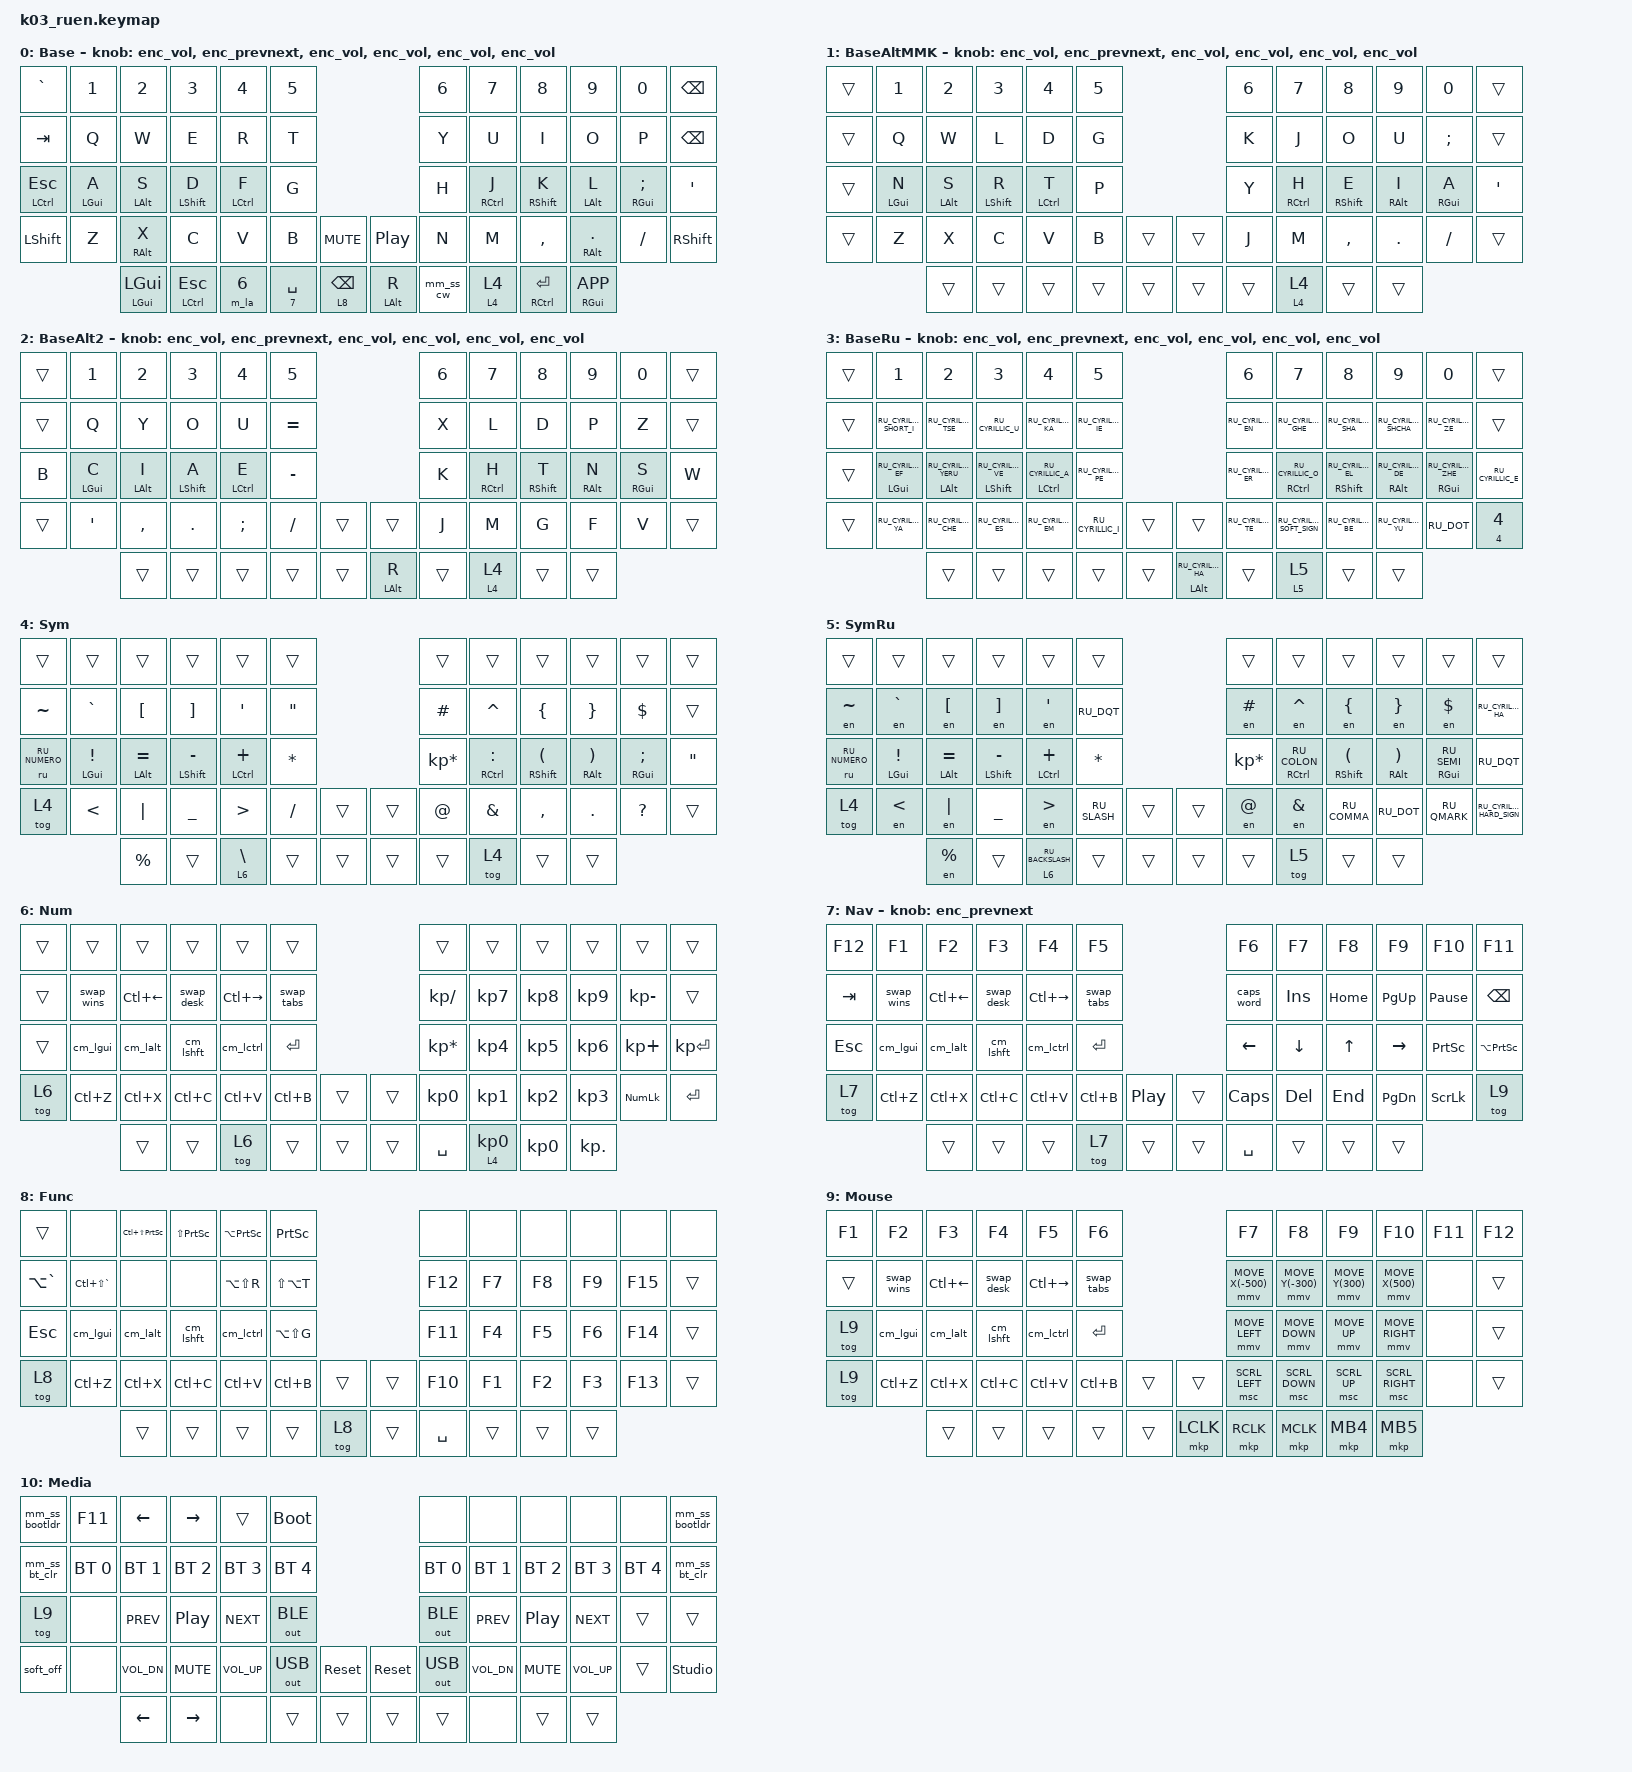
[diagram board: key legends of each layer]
#ifndef KEYMAP_DRAWER

#include "keys_ru.h"

#endif

#include <behaviors.dtsi>
#include <dt-bindings/zmk/bt.h>
#include <dt-bindings/zmk/keys.h>
#include <dt-bindings/zmk/outputs.h>
#include <dt-bindings/zmk/pointing.h>

// DEFINITIONS {{{
// #define KEYS_L 0 1 2 3 4 5 12 13 14 15 16 17 24 25 26 27 28 29 36 37 38 39 40 41 42 50 51 52 53 54
// #define KEYS_R 6 7 8 9 10 11 18 19 20 21 22 23 30 31 32 33 34 35 43 44 45 46 47 48 49 55 56 57 58 59
// #define MTSK(key)   &mtsk key     key
// #define LTSL(layer) &ltsk layer   layer
// #define HRM_LGUI(key) &mtl LGUI   key
// #define HRM_LALT(key) &mtl LALT   key
// #define HRM_LSFT(key) &mtl LSHIFT key
// #define HRM_LCTL(key) &mtl LCTRL  key
// #define HRM_RGUI(key) &mtr RGUI   key
// #define HRM_RALT(key) &mtr RALT   key
// #define HRM_RSFT(key) &mtr RSHIFT key
// #define HRM_RCTL(key) &mtr RCTRL  key
// }}} DEFINITIONS
// CONFIGS {{{

&sk { release-after-ms = <300000>; };

&caps_word { continue-list = <UNDERSCORE BACKSPACE DELETE MINUS KP_MINUS>; };

&soft_off { hold-time-ms = <3000>; };

// }}} CONFIGS

/ {
    // MACROS {{{

    macros {
        to_ru: to_ru {
            compatible = "zmk,behavior-macro";
            #binding-cells = <0>;
            bindings =
                <&macro_press>,
                <&kp LCTRL &kp LSHIFT &kp N2>,
                <&macro_release>,
                <&kp N2 &kp LSHIFT &kp LCTRL>;

            label = "TO_RU";
            wait-ms = <0>;
        };

        to_en: to_en {
            compatible = "zmk,behavior-macro";
            #binding-cells = <0>;
            bindings =
                <&macro_press>,
                <&kp LCTRL &kp LSHIFT &kp N1>,
                <&macro_release>,
                <&kp N1 &kp LSHIFT &kp LCTRL>;

            label = "TO_EN";
            wait-ms = <0>;
        };

        layer_en: layer_en {
            compatible = "zmk,behavior-macro-one-param";
            #binding-cells = <1>;
            bindings = <&macro_param_1to1 &to MACRO_PLACEHOLDER &to_en>;
            label = "LAYER_EN";
            wait-ms = <0>;
            tap-ms = <30>;
        };

        layer_ru: layer_ru {
            compatible = "zmk,behavior-macro";
            #binding-cells = <0>;
            bindings = <&to 3 &to_ru>;
            label = "LAYER_RU";
            wait-ms = <0>;
            tap-ms = <30>;
        };

        en: en {
            compatible = "zmk,behavior-macro-one-param";
            #binding-cells = <1>;
            bindings =
                <&to_en>,
                <&macro_press>,
                <&macro_param_1to1 &kp MACRO_PLACEHOLDER>,
                <&macro_pause_for_release>,
                <&macro_release>,
                <&macro_param_1to1 &kp MACRO_PLACEHOLDER>,
                <&macro_tap>,
                <&to_ru>;

            label = "EN";
            wait-ms = <0>;
            tap-ms = <30>;
        };

        mo_enru: mo_enru {
            label = "MO_ENRU";
            compatible = "zmk,behavior-macro-one-param";
            #binding-cells = <1>;
            bindings =
                <&macro_tap>,
                <&to_en>,
                <&macro_press>,
                <&macro_param_1to1 &mo MACRO_PLACEHOLDER>,
                <&macro_pause_for_release>,
                <&macro_release>,
                <&macro_param_1to1 &mo MACRO_PLACEHOLDER>,
                <&macro_tap>,
                <&to_ru>;

            wait-ms = <0>;
            tap-ms = <30>;
        };

        sl_enru: sl_enru {
            label = "SL_ENRU";
            compatible = "zmk,behavior-macro-one-param";
            #binding-cells = <1>;
            bindings =
                <&macro_tap>,
                <&to_en>,
                <&macro_press>,
                <&macro_param_1to1 &sl MACRO_PLACEHOLDER>,
                <&macro_pause_for_release>,
                <&macro_release>,
                <&macro_param_1to1 &sl MACRO_PLACEHOLDER>,
                <&macro_tap>,
                <&to_ru>;

            wait-ms = <0>;
            tap-ms = <30>;
        };

        ru: ru {
            compatible = "zmk,behavior-macro-one-param";
            #binding-cells = <1>;
            bindings =
                <&to_ru>,
                <&macro_press>,
                <&macro_param_1to1 &kp MACRO_PLACEHOLDER>,
                <&macro_pause_for_release>,
                <&macro_release>,
                <&macro_param_1to1 &kp MACRO_PLACEHOLDER>,
                <&macro_tap>,
                <&to_en>;

            label = "RU";
            wait-ms = <0>;
            tap-ms = <30>;
        };

        m_release_key_twice: m_release_key_twice {
            compatible = "zmk,behavior-macro-one-param";
            #binding-cells = <1>;
            wait-ms = <0>;
            tap-ms = <0>;
            bindings =
                <&macro_release>,
                <&macro_param_1to1 &kp MACRO_PLACEHOLDER &macro_param_1to1 &kp MACRO_PLACEHOLDER>;
        };

        m_press_key_twice: m_press_key_twice {
            compatible = "zmk,behavior-macro-one-param";
            #binding-cells = <1>;
            wait-ms = <0>;
            tap-ms = <0>;
            bindings =
                <&macro_press>,
                <&macro_param_1to1 &kp MACRO_PLACEHOLDER &macro_param_1to1 &kp MACRO_PLACEHOLDER>,
                <&macro_pause_for_release>,
                <&macro_tap>,
                <&macro_param_1to1 &m_release_key_twice MACRO_PLACEHOLDER>;
        };

        m_hold_mod_press_key: m_hold_mod_press_key {
            compatible = "zmk,behavior-macro-two-param";
            #binding-cells = <2>;
            wait-ms = <0>;
            tap-ms = <0>;
            bindings =
                <&macro_press>,
                <&macro_param_1to1 &kp MACRO_PLACEHOLDER>,
                <&macro_tap>,
                <&macro_param_2to1 &kp MACRO_PLACEHOLDER>;
        };

        m_la: m_layer_advanced {
            compatible = "zmk,behavior-macro-one-param";
            #binding-cells = <1>;
            wait-ms = <0>;
            tap-ms = <0>;
            bindings =
                <&macro_tap>,
                <&kp 0>,
                <&macro_press>,
                <&macro_param_1to1 &mo MACRO_PLACEHOLDER>,
                <&macro_pause_for_release>,
                <&macro_release>,
                <&macro_param_1to1 &mo MACRO_PLACEHOLDER &kp LSHFT &kp LCTRL &kp LALT &kp LGUI>;
        };

        m_la_enru: m_layer_advanced_enru {
            compatible = "zmk,behavior-macro-one-param";
            #binding-cells = <1>;
            wait-ms = <0>;
            tap-ms = <0>;
            bindings =
                <&macro_tap>,
                <&kp 0>,
                <&macro_press>,
                <&macro_param_1to1 &mo MACRO_PLACEHOLDER>,
                <&macro_pause_for_release>,
                <&macro_release>,
                <&macro_param_1to1 &mo MACRO_PLACEHOLDER &kp LSHFT &kp LCTRL &kp LALT &kp LGUI>;
        };
    };

    // }}} MACROS
    // BEHAVIOURS {{{

    behaviors {
        enc_vol: enc_vol {
            compatible = "zmk,behavior-sensor-rotate";
            label = "ENC_VOL";
            #sensor-binding-cells = <0>;
            bindings = <&kp C_VOL_UP>, <&kp C_VOL_DN>;
        };

        enc_prevnext: enc_prevnext {
            compatible = "zmk,behavior-sensor-rotate";
            label = "ENC_PREVNEXT";
            #sensor-binding-cells = <0>;
            bindings = <&kp C_NEXT>, <&kp C_PREV>;
        };

        sticky_forever: sticky_forever {
            compatible = "zmk,behavior-sticky-key";
            #binding-cells = <1>;
            bindings = <&m_press_key_twice>;
            release-after-ms = <60000>;
            quick-release;
            ignore-modifiers;
        };

        skq: sticky_key_quick_release {
            compatible = "zmk,behavior-sticky-key";
            #binding-cells = <1>;
            bindings = <&kp>;
            release-after-ms = <10000>;
            quick-release;
            ignore-modifiers;
        };

        ltsk: layer_tap_sticky_key {
            label = "layer_tap_sticky_key";
            compatible = "zmk,behavior-hold-tap";
            #binding-cells = <2>;
            tapping-term-ms = <300>;
            bindings = <&mo>, <&skq>;

            flavor = "tap-preferred";
        };

        ltsl: layer_tap_sticky_layer {
            compatible = "zmk,behavior-hold-tap";
            label = "layer_tap_sticky_layer";
            #binding-cells = <2>;
            tapping-term-ms = <300>;
            bindings = <&mo>, <&sl>;

            flavor = "balanced";
        };

        ltsl_enru: layer_tap_sticky_layer_enru {
            compatible = "zmk,behavior-hold-tap";
            label = "layer_tap_sticky_layer_enru";
            #binding-cells = <2>;
            tapping-term-ms = <300>;
            bindings = <&mo_enru>, <&sl_enru>;

            flavor = "balanced";
        };

        mtsk: mod_tap_sticky_key {
            label = "mod_tap_sticky_key";
            compatible = "zmk,behavior-hold-tap";
            #binding-cells = <2>;
            tapping-term-ms = <300>;
            bindings = <&kp>, <&skq>;

            hold-while-undecided-linger;
            flavor = "tap-preferred";
        };

        mtc: mod_tap_custom {
            compatible = "zmk,behavior-hold-tap";
            label = "mod_tap_custom";
            #binding-cells = <2>;
            tapping-term-ms = <300>;
            flavor = "balanced";
            bindings = <&kp>, <&kp>;

            quick-tap-ms = <250>;
        };

        ltc: layer_tap_custom {
            compatible = "zmk,behavior-hold-tap";
            #binding-cells = <2>;
            tapping-term-ms = <300>;
            flavor = "balanced";
            bindings = <&mo>, <&kp>;

            quick-tap-ms = <250>;
            label = "layer_tap_custom";
        };

        mtl: mod_tap_left {
            compatible = "zmk,behavior-hold-tap";
            #binding-cells = <2>;
            flavor = "balanced";
            require-prior-idle-ms = <150>;
            tapping-term-ms = <300>;
            quick-tap-ms = <250>;
            bindings = <&kp>, <&kp>;

            hold-trigger-key-positions = <6 7 8 9 10 11 18 19 20 21 22 23 30 31 32 33 34 35 43 44 45 46 47 48 49 55 56 57 58 59>;
            hold-trigger-on-release;
        };

        mtr: mod_tap_right {
            compatible = "zmk,behavior-hold-tap";
            #binding-cells = <2>;
            flavor = "balanced";
            require-prior-idle-ms = <150>;
            tapping-term-ms = <300>;
            quick-tap-ms = <250>;
            bindings = <&kp>, <&kp>;

            hold-trigger-key-positions = <0 1 2 3 4 5 12 13 14 15 16 17 24 25 26 27 28 29 36 37 38 39 40 41 42 50 51 52 53 54>;
            hold-trigger-on-release;
        };

        cm_lgui: cm_lgui {
            compatible = "zmk,behavior-mod-morph";
            #binding-cells = <0>;
            bindings = <&sticky_forever LGUI>, <&m_release_key_twice LGUI>;

            mods = <(MOD_LGUI)>;
            keep-mods = <(MOD_LGUI)>;
        };

        cm_lalt: cm_lalt {
            compatible = "zmk,behavior-mod-morph";
            #binding-cells = <0>;
            bindings = <&sticky_forever LALT>, <&m_release_key_twice LALT>;

            mods = <(MOD_LALT)>;
            keep-mods = <(MOD_LALT)>;
        };

        cm_lctrl: cm_lctrl {
            compatible = "zmk,behavior-mod-morph";
            #binding-cells = <0>;
            bindings = <&sticky_forever LCTRL>, <&m_release_key_twice LCTRL>;

            mods = <(MOD_LCTL)>;
            keep-mods = <(MOD_LCTL)>;
        };

        cm_lshft: cm_lshft {
            compatible = "zmk,behavior-mod-morph";
            #binding-cells = <0>;
            bindings = <&sticky_forever LSHFT>, <&m_release_key_twice LSHFT>;

            mods = <(MOD_LSFT)>;
            keep-mods = <(MOD_LSFT)>;
        };

        swap_desk: swap_desk {
            compatible = "zmk,behavior-mod-morph";
            #binding-cells = <0>;
            bindings = <&m_hold_mod_press_key LGUI TAB>, <&kp TAB>;

            mods = <(MOD_LGUI)>;
            keep-mods = <(MOD_LGUI)>;
        };

        swap_wins: swap_wins {
            compatible = "zmk,behavior-mod-morph";
            #binding-cells = <0>;
            bindings = <&m_hold_mod_press_key LALT TAB>, <&kp TAB>;

            mods = <(MOD_LALT)>;
            keep-mods = <(MOD_LALT)>;
        };

        swap_tabs: swap_tabs {
            compatible = "zmk,behavior-mod-morph";
            #binding-cells = <0>;
            bindings = <&m_hold_mod_press_key LCTRL TAB>, <&kp TAB>;

            mods = <(MOD_LCTL)>;
            keep-mods = <(MOD_LCTL)>;
        };

        td_lt_lt_kp: td_lt_lt_kp {
            compatible = "zmk,behavior-tap-dance";
            label = "TD_LT_LT_KP";
            #binding-cells = <0>;
            bindings = <&ltc 8 ENTER>, <&ltc 9 ENTER>;

            tapping-term-ms = <75>;
        };

        mm_ss_cw: mm_ss_cw {
            compatible = "zmk,behavior-mod-morph";
            label = "MODEMORPH_SHIFT_CAPSWORD";
            bindings = <&mtsk RSHFT RSHFT>, <&caps_word>;

            #binding-cells = <0>;
            mods = <(MOD_RSFT|MOD_LSFT)>;
        };

        mm_ss_bootldr: mm_ss_bootldr {
            compatible = "zmk,behavior-mod-morph";
            label = "MM_SS_BOOTLDR";
            bindings = <&skq RSHFT>, <&bootloader>;

            #binding-cells = <0>;
            mods = <(MOD_RSFT|MOD_LSFT)>;
        };

        mm_ss_bt_clr_all: mm_ss_bt_clr_all {
            compatible = "zmk,behavior-mod-morph";
            label = "MM_SS_BT_CLR_ALL";
            bindings = <&skq RSHFT>, <&bt BT_CLR_ALL>;

            #binding-cells = <0>;
            mods = <(MOD_RSFT|MOD_LSFT)>;
        };

        mm_ss_bt_clr: mm_ss_bt_clr {
            compatible = "zmk,behavior-mod-morph";
            label = "MM_SS_BT_CLR";
            bindings = <&skq RSHFT>, <&bt BT_CLR>;

            #binding-cells = <0>;
            mods = <(MOD_RSFT|MOD_LSFT)>;
        };

        ltla: ltla {
            compatible = "zmk,behavior-hold-tap";
            label = "LTLA";
            #binding-cells = <2>;
            tapping-term-ms = <280>;
            bindings = <&m_la>, <&kp>;

            flavor = "hold-preferred";
            quick-tap-ms = <200>;
        };
    };

    // }}} BEHAVIORS
    // COMBOS {{{

    combos {
        compatible = "zmk,combos";

        cmben {
            bindings = <&layer_en 0>;
            key-positions = <38 39>;
            layers = <0 1 2 3>;
            timeout-ms = <50>;
            require-prior-idle-ms = <30>;
        };

        cmben_alt1 {
            bindings = <&layer_en 1>;
            key-positions = <38 39 40>;
            timeout-ms = <60>;
            require-prior-idle-ms = <30>;
            layers = <0 1 2 3>;
        };

        cmben_alt2 {
            bindings = <&layer_en 2>;
            key-positions = <38 40>;
            timeout-ms = <60>;
            require-prior-idle-ms = <30>;
            layers = <0 1 2 3>;
        };

        cmbru {
            bindings = <&layer_ru>;
            key-positions = <39 40>;
            layers = <0 1 2 3>;
            timeout-ms = <50>;
            require-prior-idle-ms = <30>;
        };

        ru_cyr_yo {
            bindings = <&kp GRAVE>;
            key-positions = <17 29>;
            layers = <3>;
            timeout-ms = <70>;
            require-prior-idle-ms = <30>;
        };

        ru_cyr_hsgn {
            bindings = <&kp RU_CYRILLIC_HARD_SIGN>;
            key-positions = <47 46>;
            layers = <3>;
            timeout-ms = <70>;
            require-prior-idle-ms = <30>;
        };

        ru_cyr_ha {
            bindings = <&kp RU_CYRILLIC_HA>;
            key-positions = <21 20>;
            layers = <3>;
            timeout-ms = <70>;
            require-prior-idle-ms = <30>;
        };

        equal {
            bindings = <&kp EQUAL>;
            key-positions = <18 19>;
            layers = <0 1 3>;
        };

        hyphen {
            bindings = <&kp MINUS>;
            key-positions = <31 30>;
            layers = <0 1 2 3>;
            timeout-ms = <50>;
            require-prior-idle-ms = <30>;
        };

        under {
            bindings = <&kp UNDER>;
            key-positions = <44 45>;
            layers = <0 1 2 3>;
            require-prior-idle-ms = <30>;
            timeout-ms = <50>;
        };

        pipe {
            bindings = <&kp PIPE>;
            key-positions = <16 17>;
            timeout-ms = <50>;
            require-prior-idle-ms = <30>;
            layers = <0 1 2 3>;
        };

        slash {
            bindings = <&kp SLASH>;
            key-positions = <29 28>;
            timeout-ms = <50>;
            require-prior-idle-ms = <30>;
            layers = <0 1 2 3>;
        };

        backslash {
            bindings = <&kp BACKSLASH>;
            key-positions = <40 41>;
            timeout-ms = <50>;
            require-prior-idle-ms = <30>;
            layers = <0 1 2 3>;
        };

        clear_all_bt {
            bindings = <&bt BT_CLR_ALL>;
            key-positions = <12 24>;
            layers = <10>;
            timeout-ms = <60>;
            require-prior-idle-ms = <30>;
        };

        turbo {
            bindings = <&kp LC(LSHFT)>;
            key-positions = <53 54>;
            timeout-ms = <60>;
            require-prior-idle-ms = <30>;
        };
    };

    // }}} COMBOS
    // CONDITIONAL LAYERA {{{

    conditional_layers {
        compatible = "zmk,conditional-layers";

        Media {
            if-layers = <6 4>;
            then-layer = <10>;
        };

        MediaRu {
            if-layers = <6 5>;
            then-layer = <10>;
        };

        MediaNavNum {
            if-layers = <6 7>;
            then-layer = <10>;
        };
    };

    // }}} CONDITIONAL LAYERS
    // KEYMAP {{{

    keymap {
        compatible = "zmk,keymap";

        Base {
            display-name = "Base";
            bindings = <
&kp GRAVE       &kp N1       &kp N2            &kp N3          &kp N4        &kp N5                                               &kp N6     &kp N7        &kp N8            &kp N9           &kp N0          &kp BSPC
&kp TAB         &kp Q        &kp W             &kp E           &kp R         &kp T                                                &kp Y      &kp U         &kp I             &kp O            &kp P           &kp BACKSPACE
&mtc LCTRL ESC  &mtl LGUI A  &mtl LALT S       &mtl LSHFT D    &mtl LCTRL F  &kp G                                                &kp H      &mtr RCTRL J  &mtr RSHFT K      &mtr LALT L      &mtr RGUI SEMI  &kp SQT
&kp LSHFT       &kp Z        &mtl RIGHT_ALT X  &kp C           &kp V         &kp B          &kp C_MUTE          &kp C_PLAY_PAUSE  &kp N      &kp M         &kp COMMA         &mtl RALT DOT    &kp FSLH        &kp RSHFT
                             &mtsk LGUI LGUI   &mtc LCTRL ESC  &m_la 6       &ltla 7 SPACE  &ltc 8 BACKSPACE    &mtc LALT R       &mm_ss_cw  &ltsl 4 4     &mtc RCTRL ENTER  &mtc RGUI K_APP
            >;

            sensor-bindings =
                <&enc_vol>,
                <&enc_prevnext>,
                <&enc_vol>,
                <&enc_vol>,
                <&enc_vol>,
                <&enc_vol>;
        };

        BaseAlt1 {
            display-name = "BaseAltMMK";
            bindings = <
&trans  &kp N1       &kp N2       &kp N3        &kp N4        &kp N5                    &kp N6  &kp N7        &kp N8        &kp N9       &kp N0       &trans
&trans  &kp Q        &kp W        &kp L         &kp D         &kp G                     &kp K   &kp J         &kp O         &kp U        &kp SEMI     &trans
&trans  &mtl LGUI N  &mtl LALT S  &mtl LSHFT R  &mtl LCTRL T  &kp P                     &kp Y   &mtr RCTRL H  &mtr RSHFT E  &mtr RALT I  &mtr RGUI A  &kp SQT
&trans  &kp Z        &kp X        &kp C         &kp V         &kp B   &trans    &trans  &kp J   &kp M         &kp COMMA     &kp DOT      &kp FSLH     &trans
                     &trans       &trans        &trans        &trans  &trans    &trans  &trans  &ltsl 4 4     &trans        &trans
            >;

            sensor-bindings =
                <&enc_vol>,
                <&enc_prevnext>,
                <&enc_vol>,
                <&enc_vol>,
                <&enc_vol>,
                <&enc_vol>;

            label = "BaseAlt1";
        };

        BaseAlt2 {
            label = "BaseAlt2";
            display-name = "BaseAlt2";
            bindings = <
&trans  &kp N1       &kp N2       &kp N3        &kp N4        &kp N5                            &kp N6  &kp N7        &kp N8        &kp N9       &kp N0       &trans
&trans  &kp Q        &kp Y        &kp O         &kp U         &kp EQUAL                         &kp X   &kp L         &kp D         &kp P        &kp Z        &trans
&kp B   &mtl LGUI C  &mtl LALT I  &mtl LSHFT A  &mtl LCTRL E  &kp MINUS                         &kp K   &mtr RCTRL H  &mtr RSHFT T  &mtr RALT N  &mtr RGUI S  &kp W
&trans  &kp SQT      &kp COMMA    &kp DOT       &kp SEMI      &kp SLASH  &trans    &trans       &kp J   &kp M         &kp G         &kp F        &kp V        &trans
                     &trans       &trans        &trans        &trans     &trans    &mtc LALT R  &trans  &ltsl 4 4     &trans        &trans
            >;

            sensor-bindings =
                <&enc_vol>,
                <&enc_prevnext>,
                <&enc_vol>,
                <&enc_vol>,
                <&enc_vol>,
                <&enc_vol>;
        };

        BaseRu {
            display-name = "BaseRu";
            bindings = <
&trans  &kp N1                    &kp N2                      &kp N3                     &kp N4                    &kp N5                                                  &kp N6              &kp N7                     &kp N8                     &kp N9                    &kp N0                     &trans
&trans  &kp RU_CYRILLIC_SHORT_I   &kp RU_CYRILLIC_TSE         &kp RU_CYRILLIC_U          &kp RU_CYRILLIC_KA        &kp RU_CYRILLIC_IE                                      &kp RU_CYRILLIC_EN  &kp RU_CYRILLIC_GHE        &kp RU_CYRILLIC_SHA        &kp RU_CYRILLIC_SHCHA     &kp RU_CYRILLIC_ZE         &trans
&trans  &mtl LGUI RU_CYRILLIC_EF  &mtl LALT RU_CYRILLIC_YERU  &mtl LSHFT RU_CYRILLIC_VE  &mtl LCTRL RU_CYRILLIC_A  &kp RU_CYRILLIC_PE                                      &kp RU_CYRILLIC_ER  &mtr RCTRL RU_CYRILLIC_O   &mtr RSHFT RU_CYRILLIC_EL  &mtr RALT RU_CYRILLIC_DE  &mtr RGUI RU_CYRILLIC_ZHE  &kp RU_CYRILLIC_E
&trans  &kp RU_CYRILLIC_YA        &kp RU_CYRILLIC_CHE         &kp RU_CYRILLIC_ES         &kp RU_CYRILLIC_EM        &kp RU_CYRILLIC_I   &trans    &trans                    &kp RU_CYRILLIC_TE  &kp RU_CYRILLIC_SOFT_SIGN  &kp RU_CYRILLIC_BE         &kp RU_CYRILLIC_YU        &kp RU_DOT                 &ltsl_enru 4 4
                                  &trans                      &trans                     &trans                    &trans              &trans    &mtc LALT RU_CYRILLIC_HA  &trans              &ltsl 5 5                  &trans                     &trans
            >;

            sensor-bindings =
                <&enc_vol>,
                <&enc_prevnext>,
                <&enc_vol>,
                <&enc_vol>,
                <&enc_vol>,
                <&enc_vol>;
        };

        Sym {
            display-name = "Sym";
            bindings = <
&trans         &trans          &trans           &trans            &trans            &trans                       &trans           &trans            &trans           &trans          &trans          &trans
&kp TILDE      &kp GRAVE       &kp LBKT         &kp RBKT          &kp SQT           &kp DQT                      &kp HASH         &kp CARET         &kp LBRC         &kp RBRC        &kp DOLLAR      &trans
&ru RU_NUMERO  &mtl LGUI EXCL  &mtl LALT EQUAL  &mtl LSHFT MINUS  &mtl LCTRL PLUS   &kp ASTRK                    &kp KP_ASTERISK  &mtr RCTRL COLON  &mtr RSHFT LPAR  &mtr RALT RPAR  &mtr RGUI SEMI  &kp DQT
&tog 4         &kp LT          &kp PIPE         &kp UNDER         &kp GT            &kp SLASH  &trans    &trans  &kp AT           &kp AMPS          &kp COMMA        &kp DOT         &kp QMARK       &trans
                               &kp PERCENT      &trans            &ltc 6 BACKSLASH  &trans     &trans    &trans  &trans           &tog 4            &trans           &trans
            >;
        };

        SymRu {
            display-name = "SymRu";
            bindings = <
&trans         &trans          &trans           &trans            &trans               &trans                          &trans           &trans               &trans           &trans          &trans             &trans
&en TILDE      &en GRAVE       &en LBKT         &en RBKT          &en SQT              &kp RU_DQT                      &en HASH         &en CARET            &en LBRC         &en RBRC        &en DOLLAR         &kp RU_CYRILLIC_HA
&ru RU_NUMERO  &mtl LGUI EXCL  &mtl LALT EQUAL  &mtl LSHFT MINUS  &mtl LCTRL PLUS      &kp ASTRK                       &kp KP_ASTERISK  &mtr RCTRL RU_COLON  &mtr RSHFT LPAR  &mtr RALT RPAR  &mtr RGUI RU_SEMI  &kp RU_DQT
&tog 4         &en LT          &en PIPE         &kp UNDER         &en GT               &kp RU_SLASH  &trans    &trans  &en AT           &en AMPS             &kp RU_COMMA     &kp RU_DOT      &kp RU_QMARK       &kp RU_CYRILLIC_HARD_SIGN
                               &en PERCENT      &trans            &ltc 6 RU_BACKSLASH  &trans        &trans    &trans  &trans           &tog 5               &trans           &trans
            >;
        };

        Num {
            display-name = "Num";
            bindings = <
&trans  &trans      &trans        &trans      &trans         &trans                        &trans           &trans        &trans     &trans      &trans          &trans
&trans  &swap_wins  &kp LC(LEFT)  &swap_desk  &kp LC(RIGHT)  &swap_tabs                    &kp KP_DIVIDE    &kp KP_N7     &kp KP_N8  &kp KP_N9   &kp KP_MINUS    &trans
&trans  &cm_lgui    &cm_lalt      &cm_lshft   &cm_lctrl      &kp ENTER                     &kp KP_MULTIPLY  &kp KP_N4     &kp KP_N5  &kp KP_N6   &kp KP_PLUS     &kp KP_ENTER
&tog 6  &kp LC(Z)   &kp LC(X)     &kp LC(C)   &kp LC(V)      &kp LC(B)   &trans    &trans  &kp KP_N0        &kp KP_N1     &kp KP_N2  &kp KP_N3   &kp KP_NUMLOCK  &kp ENTER
                    &trans        &trans      &tog 6         &trans      &trans    &trans  &kp SPACE        &ltc 4 KP_N0  &kp KP_N0  &kp KP_DOT
            >;
        };

        Nav {
            display-name = "Nav";
            bindings = <
&kp F12  &kp F1      &kp F2        &kp F3      &kp F4         &kp F5                          &kp F6      &kp F7    &kp F8    &kp F9           &kp F10          &kp F11
&kp TAB  &swap_wins  &kp LC(LEFT)  &swap_desk  &kp LC(RIGHT)  &swap_tabs                      &caps_word  &kp INS   &kp HOME  &kp PG_UP        &kp PAUSE_BREAK  &kp BACKSPACE
&kp ESC  &cm_lgui    &cm_lalt      &cm_lshft   &cm_lctrl      &kp ENTER                       &kp LEFT    &kp DOWN  &kp UP    &kp RIGHT_ARROW  &kp PRINTSCREEN  &kp LA(PRINTSCREEN)
&tog 7   &kp LC(Z)   &kp LC(X)     &kp LC(C)   &kp LC(V)      &kp LC(B)   &kp C_PP    &trans  &kp CAPS    &kp DEL   &kp END   &kp PG_DN        &kp SCROLLLOCK   &tog 9
                     &trans        &trans      &trans         &tog 7      &trans      &trans  &kp SPACE   &trans    &trans    &trans
            >;

            sensor-bindings = <&enc_prevnext>;
        };

        Func {
            display-name = "Func";
            bindings = <
&trans         &none              &kp LC(LS(PRINTSCREEN))  &kp LS(PRINTSCREEN)  &kp LA(PRINTSCREEN)  &kp PRINTSCREEN                    &none      &none   &none   &none   &none    &none
&kp LA(GRAVE)  &kp LC(LS(GRAVE))  &none                    &none                &kp LA(LS(R))        &kp LS(LA(T))                      &kp F12    &kp F7  &kp F8  &kp F9  &kp F15  &trans
&kp ESC        &cm_lgui           &cm_lalt                 &cm_lshft            &cm_lctrl            &kp LA(LS(G))                      &kp F11    &kp F4  &kp F5  &kp F6  &kp F14  &trans
&tog 8         &kp LC(Z)          &kp LC(X)                &kp LC(C)            &kp LC(V)            &kp LC(B)        &trans    &trans  &kp F10    &kp F1  &kp F2  &kp F3  &kp F13  &trans
                                  &trans                   &trans               &trans               &trans           &tog 8    &trans  &kp SPACE  &trans  &trans  &trans
            >;
        };

        Mouse {
            display-name = "Mouse";
            bindings = <
&kp F1  &kp F2      &kp F3        &kp F4      &kp F5         &kp F6                           &kp F7             &kp F8             &kp F9            &kp F10           &kp F11  &kp F12
&trans  &swap_wins  &kp LC(LEFT)  &swap_desk  &kp LC(RIGHT)  &swap_tabs                       &mmv MOVE_X(-500)  &mmv MOVE_Y(-300)  &mmv MOVE_Y(300)  &mmv MOVE_X(500)  &none    &trans
&tog 9  &cm_lgui    &cm_lalt      &cm_lshft   &cm_lctrl      &kp ENTER                        &mmv MOVE_LEFT     &mmv MOVE_DOWN     &mmv MOVE_UP      &mmv MOVE_RIGHT   &none    &trans
&tog 9  &kp LC(Z)   &kp LC(X)     &kp LC(C)   &kp LC(V)      &kp LC(B)   &trans    &trans     &msc SCRL_LEFT     &msc SCRL_DOWN     &msc SCRL_UP      &msc SCRL_RIGHT   &none    &trans
                    &trans        &trans      &trans         &trans      &trans    &mkp LCLK  &mkp RCLK          &mkp MCLK          &mkp MB4          &mkp MB5
            >;
        };

        Media {
            display-name = "Media";
            bindings = <
&mm_ss_bootldr  &kp F11       &kp LEFT      &kp RIGHT     &trans        &bootloader                             &none         &none         &none         &none         &none         &mm_ss_bootldr
&mm_ss_bt_clr   &bt BT_SEL 0  &bt BT_SEL 1  &bt BT_SEL 2  &bt BT_SEL 3  &bt BT_SEL 4                            &bt BT_SEL 0  &bt BT_SEL 1  &bt BT_SEL 2  &bt BT_SEL 3  &bt BT_SEL 4  &mm_ss_bt_clr
&tog 9          &none         &kp C_PREV    &kp C_PP      &kp C_NEXT    &out OUT_BLE                            &out OUT_BLE  &kp C_PREV    &kp C_PP      &kp C_NEXT    &trans        &trans
&soft_off       &none         &kp C_VOL_DN  &kp C_MUTE    &kp C_VOL_UP  &out OUT_USB  &sys_reset    &sys_reset  &out OUT_USB  &kp C_VOL_DN  &kp C_MUTE    &kp C_VOL_UP  &trans        &studio_unlock
                              &kp LEFT      &kp RIGHT     &none         &trans        &trans        &trans      &trans        &none         &trans        &trans
            >;
        };
    };

    // }}} KEYMAP
};

/* vim: set ft=dts: */
